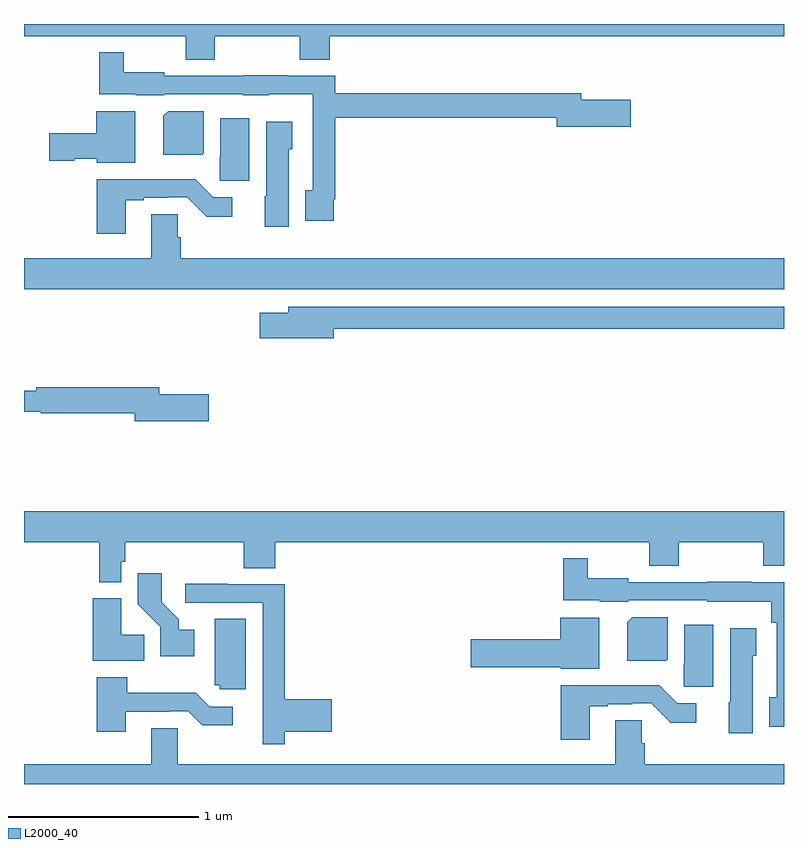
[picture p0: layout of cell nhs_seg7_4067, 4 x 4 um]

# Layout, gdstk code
import gdstk
lib = gdstk.Library(unit=1e-6, precision=1e-09)
def P(c, l, *ps):  # polygons
    for p in ps: c.add(gdstk.Polygon(p, *l))
L2000_40 = (2000, 40)

nhs_seg7_4067 = lib.new_cell('nhs_seg7_4067')
P(nhs_seg7_4067, L2000_40, [(370.005,1013.936),(370.45,1013.936),(370.45,1013.812),(370.61,1013.812),(370.61,1013.936),(373,1013.936),(373,1014),(369,1014),(369,1013.936),(369.85,1013.936),(369.85,1013.812),(370.005,1013.812)],
  [(370.63,1013.077),(370.637,1013.077),(370.637,1013.506),(371.804,1013.506),(371.804,1013.459),(372.193,1013.459),(372.193,1013.601),(371.932,1013.601),(371.932,1013.635),(370.637,1013.635),(370.637,1013.727),(370.387,1013.727),(370.387,1013.729),(370.155,1013.729),(370.155,1013.727),(369.738,1013.727),(369.738,1013.746),(369.526,1013.746),(369.526,1013.851),(369.397,1013.851),(369.397,1013.63),(369.588,1013.63),(369.588,1013.624),(369.738,1013.624),(369.738,1013.631),(370.155,1013.631),(370.155,1013.624),(370.287,1013.624),(370.287,1013.63),(370.521,1013.63),(370.521,1013.126),(370.481,1013.126),(370.481,1012.965),(370.63,1012.965)],
  [(369.946,1013.32),(369.946,1013.542),(369.76,1013.542),(369.734,1013.516),(369.734,1013.312),(369.938,1013.312)],
  [(369.586,1013.54),(369.38,1013.54),(369.38,1013.426),(369.132,1013.426),(369.132,1013.279),(369.264,1013.279),(369.264,1013.291),(369.384,1013.291),(369.384,1013.27),(369.586,1013.27)],
  [(370.186,1013.503),(370.034,1013.503),(370.034,1013.298),(370.03,1013.298),(370.03,1013.175),(370.186,1013.175)],
  [(370.393,1013.34),(370.411,1013.34),(370.411,1013.485),(370.274,1013.485),(370.274,1013.094),(370.268,1013.094),(370.268,1012.932),(370.393,1012.932)],
  [(369.535,1013.073),(369.631,1013.073),(369.631,1013.085),(369.758,1013.085),(369.758,1013.088),(369.858,1013.088),(369.961,1012.986),(370.096,1012.986),(370.096,1013.088),(369.996,1013.088),(369.901,1013.183),(369.383,1013.183),(369.383,1012.896),(369.535,1012.896)],
  [(373,1012.768),(369.824,1012.768),(369.824,1012.878),(369.81,1012.878),(369.81,1013),(369.671,1013),(369.671,1012.768),(369,1012.768),(369,1012.604),(373,1012.604)],
  [(370.63,1012.396),(373,1012.396),(373,1012.512),(370.391,1012.512),(370.391,1012.48),(370.242,1012.48),(370.242,1012.346),(370.63,1012.346)],
  [(369.973,1012.052),(369.712,1012.052),(369.712,1012.088),(369.064,1012.088),(369.064,1012.069),(369,1012.069),(369,1011.96),(369.088,1011.96),(369.088,1011.952),(369.584,1011.952),(369.584,1011.91),(369.973,1011.91)],
  [(369.513,1011.171),(369.533,1011.171),(369.533,1011.272),(370.157,1011.272),(370.157,1011.136),(370.322,1011.136),(370.322,1011.272),(372.292,1011.272),(372.292,1011.148),(372.447,1011.148),(372.447,1011.272),(372.892,1011.272),(372.892,1011.148),(373,1011.148),(373,1011.436),(369,1011.436),(369,1011.272),(369.397,1011.272),(369.397,1011.062),(369.513,1011.062)],
  [(373,1011.063),(372.829,1011.063),(372.829,1011.065),(372.597,1011.065),(372.597,1011.063),(372.18,1011.063),(372.18,1011.082),(371.968,1011.082),(371.968,1011.187),(371.839,1011.187),(371.839,1010.966),(372.03,1010.966),(372.03,1010.96),(372.18,1010.96),(372.18,1010.967),(372.597,1010.967),(372.597,1010.96),(372.932,1010.96),(372.932,1010.849),(372.963,1010.849),(372.963,1010.457),(372.923,1010.457),(372.923,1010.301),(373,1010.301)],
  [(369.895,1010.812),(369.814,1010.812),(369.814,1010.867),(369.724,1010.957),(369.724,1011.109),(369.598,1011.109),(369.598,1010.946),(369.717,1010.827),(369.717,1010.672),(369.895,1010.672)],
  [(370.373,1010.276),(370.621,1010.276),(370.621,1010.447),(370.373,1010.447),(370.373,1011.051),(370.073,1011.051),(370.073,1011.054),(369.849,1011.054),(369.849,1010.955),(370.257,1010.955),(370.257,1010.43),(370.256,1010.43),(370.256,1010.208),(370.373,1010.208)],
  [(369.632,1010.786),(369.511,1010.786),(369.511,1010.977),(369.362,1010.977),(369.362,1010.648),(369.632,1010.648)],
  [(372.388,1010.656),(372.388,1010.878),(372.202,1010.878),(372.176,1010.852),(372.176,1010.648),(372.38,1010.648)],
  [(372.028,1010.876),(371.822,1010.876),(371.822,1010.762),(371.352,1010.762),(371.352,1010.615),(371.826,1010.615),(371.826,1010.606),(372.028,1010.606)],
  [(370.168,1010.869),(370.004,1010.869),(370.004,1010.52),(370.029,1010.52),(370.029,1010.499),(370.168,1010.499)],
  [(372.628,1010.839),(372.476,1010.839),(372.476,1010.634),(372.472,1010.634),(372.472,1010.511),(372.628,1010.511)],
  [(372.835,1010.676),(372.853,1010.676),(372.853,1010.821),(372.716,1010.821),(372.716,1010.43),(372.71,1010.43),(372.71,1010.268),(372.835,1010.268)],
  [(369.535,1010.379),(369.764,1010.379),(369.764,1010.382),(369.864,1010.382),(369.937,1010.309),(370.099,1010.309),(370.099,1010.406),(369.978,1010.406),(369.905,1010.479),(369.543,1010.479),(369.543,1010.563),(369.383,1010.563),(369.383,1010.274),(369.535,1010.274)],
  [(371.977,1010.409),(372.073,1010.409),(372.073,1010.421),(372.2,1010.421),(372.2,1010.424),(372.3,1010.424),(372.403,1010.322),(372.538,1010.322),(372.538,1010.424),(372.438,1010.424),(372.343,1010.519),(371.825,1010.519),(371.825,1010.232),(371.977,1010.232)],
  [(373,1010.104),(372.266,1010.104),(372.266,1010.214),(372.252,1010.214),(372.252,1010.336),(372.113,1010.336),(372.113,1010.104),(369.81,1010.104),(369.81,1010.294),(369.671,1010.294),(369.671,1010.104),(369,1010.104),(369,1010),(373,1010)])

lib.write_gds('nhs_seg7_4067.gds')
